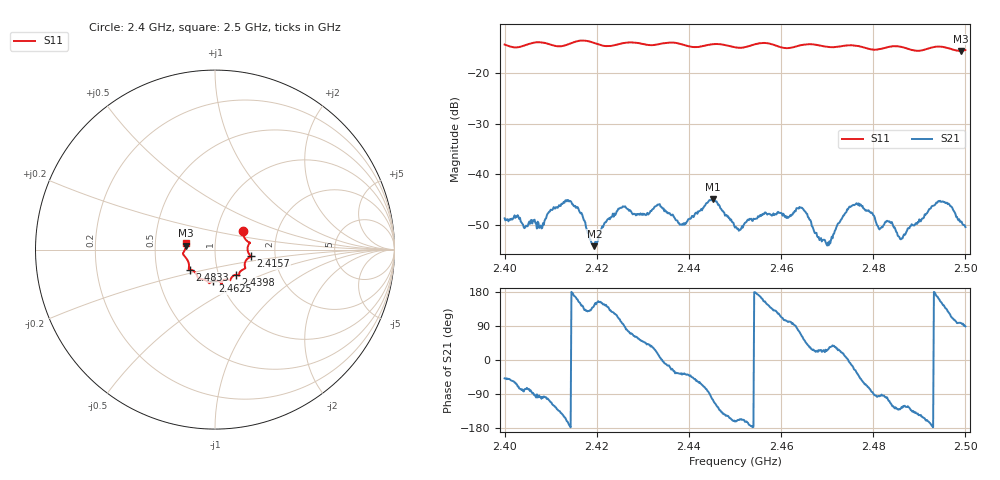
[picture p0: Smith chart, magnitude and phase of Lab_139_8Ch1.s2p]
# Hz S RI R 50
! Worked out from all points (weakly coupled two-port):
!   601 points, 2.4 GHz to 2.5 GHz, reference 50 ohm
!   highest |S21| = -44.89 dB at 2.4452 GHz (marker M1); lowest = -54.1 dB at 2.4195 GHz (marker M2)
!   lowest |S11| = -15.7 dB at 2.499 GHz (marker M3), VSWR 1.39, Z = 36 + j1.56 ohm
!   |S11| at or under -10 dB: start of sweep to end of sweep
!   S12 and S22 are empty: the file has one direction only
!   S11 on the Smith chart (normalised r, x): 2.4 GHz: 1.33, +0.29; 2.4157 GHz: 1.49, -0.12; 2.4398 GHz: 1.21, -0.35; 2.4625 GHz: 0.92, -0.34; 2.4833 GHz: 0.74, -0.17; 2.5 GHz: 0.72, +0.06
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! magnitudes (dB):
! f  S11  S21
! 2.4 GHz  -14.5  -48.6
! 2.408 GHz  -14.1  -50.6
! 2.4133 GHz  -14.6  -45.1
! 2.4157 GHz  -13.8  -46.5
! 2.4167 GHz  -13.7  -47.5
! 2.4195 GHz  -14.2  -54.1
! 2.4252 GHz  -14.3  -46.5
! 2.4333 GHz  -14.4  -46.0
! 2.4398 GHz  -14.8  -48.8
! 2.4452 GHz  -14.4  -44.9
! 2.45 GHz  -15.0  -50.4
! 2.4625 GHz  -15.0  -47.9
! 2.4645 GHz  -14.6  -46.5
! 2.4667 GHz  -14.4  -50.1
! 2.4702 GHz  -15.0  -53.4
! 2.476 GHz  -14.7  -46.0
! 2.4813 GHz  -15.4  -50.8
! 2.4833 GHz  -15.0  -49.3
! 2.4863 GHz  -15.0  -52.6
! 2.4947 GHz  -14.9  -45.4
! 2.499 GHz  -15.7  -49.3
! 2.5 GHz  -15.6  -50.3
